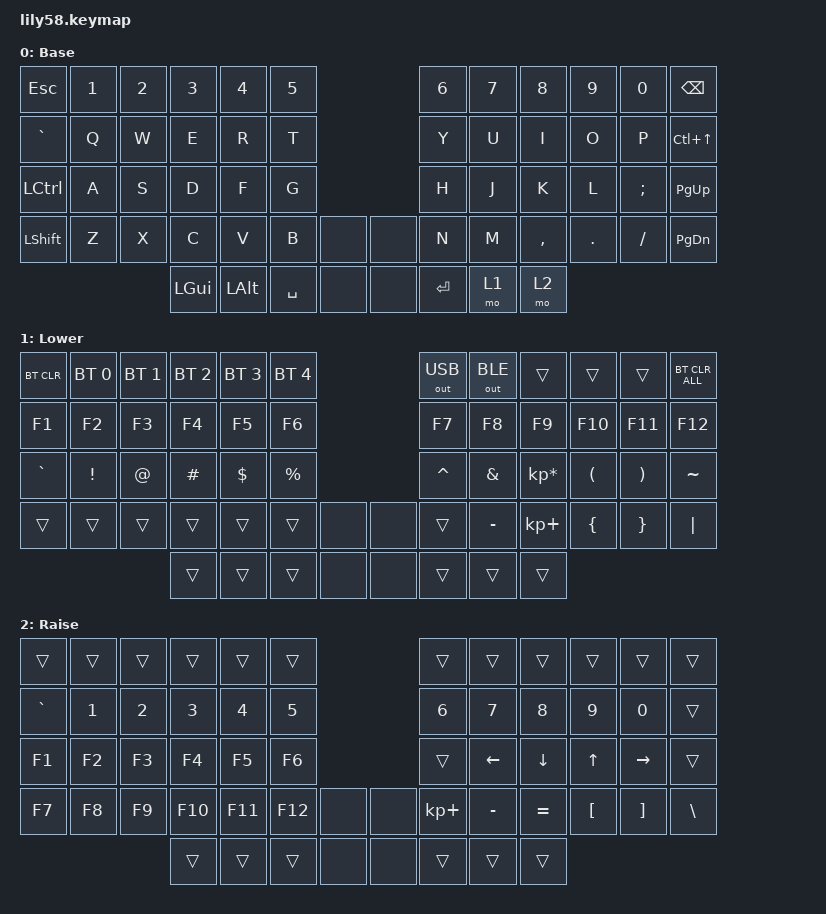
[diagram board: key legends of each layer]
/*
 * Copyright (c) 2020 The ZMK Contributors
 *
 * SPDX-License-Identifier: MIT
 */

#include <behaviors.dtsi>
#include <dt-bindings/zmk/keys.h>
#include <dt-bindings/zmk/bt.h>
#include <dt-bindings/zmk/ext_power.h>
#include <dt-bindings/zmk/outputs.h>

/ {
    keymap {
        compatible = "zmk,keymap";

        default_layer {
// ------------------------------------------------------------------------------------------------------------
// |  ESC  |  1  |  2  |  3   |  4   |  5   |                   |  6   |  7    |  8    |  9   |   0   |   BSPC  |
// |  ~    |  Q  |  W  |  E   |  R   |  T   |                   |  Y   |  U    |  I    |  O   |   P   |   LC(UP_ARROW)   |
// |  CTRL |  A  |  S  |  D   |  F   |  G   |                   |  H   |  J    |  K    |  L   |   ;   |   PG_UP |
// | SHIFT |  Z  |  X  |  C   |  V   |  B   |  n/a   |  |  n/a  |  N   |  M    |  ,    |  .   |   /   |   PG_DN |
//                     | Command  | Option| SPACE|  n/a   |  |  n/a  | ENTER| Lower | Raise  |

// Note: Silakka54 has 54 keys - the 4 positions marked n/a are not present (inner thumb + encoder positions)

            display-name = "Base";
            bindings = <
&kp ESC   &kp N1 &kp N2 &kp N3   &kp N4 &kp N5                     &kp N6  &kp N7   &kp N8    &kp N9  &kp N0   &kp BSPC
&kp GRAVE   &kp Q  &kp W  &kp E    &kp R  &kp T                      &kp Y   &kp U    &kp I     &kp O   &kp P    &kp LC(UP_ARROW)
&kp LCTRL &kp A  &kp S  &kp D    &kp F  &kp G                      &kp H   &kp J    &kp K     &kp L   &kp SEMI &kp PG_UP
&kp LSHIFT &kp Z  &kp X  &kp C    &kp V  &kp B  &none     &none     &kp N   &kp M    &kp COMMA &kp DOT &kp FSLH &kp PG_DN
                        &kp LGUI &kp LALT &kp SPACE &none  &none     &kp RET &mo 1 &mo 2
            >;
        };

        lower_layer {
// ------------------------------------------------------------------------------------------------------------
// | BTCLR | BT1 | BT2 |  BT3 |  BT4 |  BT5 |                   | USB  | BLE   |       |      |       |BTCLRALL|
// |  F1   |  F2 |  F3 |  F4  |  F5  |  F6  |                   |  F7  |  F8   |  F9   |  F10 |  F11  |  F12  |
// |   `   |  !  |  @  |  #   |  $   |  %   |                   |  ^   |  &    |  *    |  (   |   )   |   ~   |
// |       |     |     |      |      |      |  n/a   |  |  n/a  |      |  _    |  +    |  {   |   }   |  "|"  |
//                     |      |      |      |  n/a   |  |  n/a  |      |       |       |
            display-name = "Lower";
            bindings = <
&bt BT_CLR &bt BT_SEL 0 &bt BT_SEL 1 &bt BT_SEL 2 &bt BT_SEL 3 &bt BT_SEL 4                 &out OUT_USB &out OUT_BLE &trans          &trans   &trans   &bt BT_CLR_ALL
&kp F1     &kp F2       &kp F3       &kp F4       &kp F5       &kp F6                       &kp F7       &kp F8       &kp F9          &kp F10  &kp F11  &kp F12
&kp GRAVE  &kp EXCL     &kp AT       &kp HASH     &kp DOLLAR   &kp PRCNT                    &kp CARET    &kp AMPS     &kp KP_MULTIPLY &kp LPAR &kp RPAR &kp TILDE
&trans     &trans       &trans       &trans       &trans       &trans    &none     &none   &trans       &kp MINUS    &kp KP_PLUS     &kp LBRC &kp RBRC &kp PIPE
                                     &trans       &trans       &trans    &none     &none   &trans       &trans       &trans
            >;
        };

        raise_layer {
// ------------------------------------------------------------------------------------------------------------
// |       |     |     |      |      |      |                   |      |       |       |      |       |       |
// |   `   |  1  |  2  |  3   |  4   |  5   |                   |  6   |   7   |   8   |  9   |   0   |       |
// |   F1  |  F2 |  F3 |  F4  |  F5  |  F6  |                   |      |   <-  |   v   |  ^   |  ->   |       |
// |   F7  |  F8 |  F9 |  F10 |  F11 |  F12 |  n/a   |  |  n/a  |  +   |   -   |   =   |  [   |   ]   |   \   |
//                     |      |      |      |  n/a   |  |  n/a  |      |       |       |
            display-name = "Raise";
            bindings = <
&trans    &trans &trans &trans  &trans  &trans                       &trans      &trans    &trans    &trans   &trans    &trans
&kp GRAVE &kp N1 &kp N2 &kp N3  &kp N4  &kp N5                       &kp N6      &kp N7    &kp N8    &kp N9   &kp N0    &trans
&kp F1    &kp F2 &kp F3 &kp F4  &kp F5  &kp F6                       &trans      &kp LEFT  &kp DOWN  &kp UP   &kp RIGHT &trans
&kp F7    &kp F8 &kp F9 &kp F10 &kp F11 &kp F12   &none     &none    &kp KP_PLUS &kp MINUS &kp EQUAL &kp LBKT &kp RBKT  &kp BSLH
                        &trans  &trans  &trans    &none     &none    &trans      &trans    &trans
            >;
        };

        extra_1 {
            status = "reserved";
        };

        extra_2 {
            status = "reserved";
        };

        extra_3 {
            status = "reserved";
        };
    };
};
